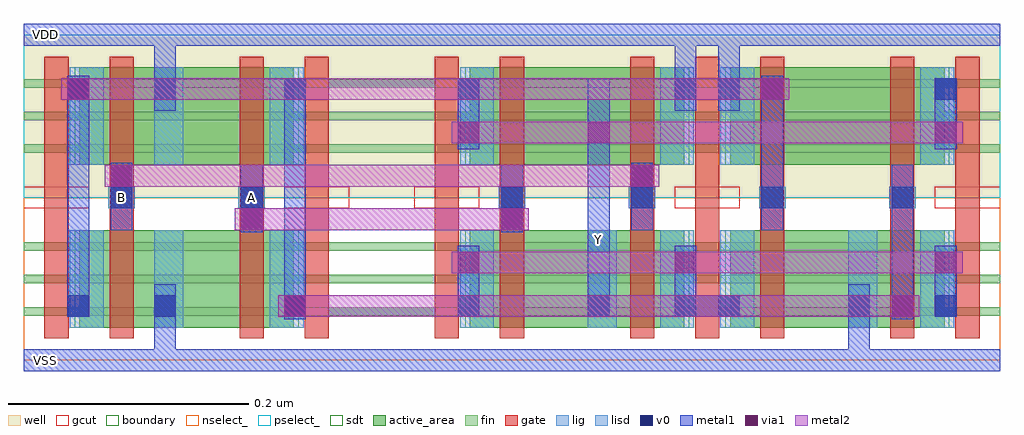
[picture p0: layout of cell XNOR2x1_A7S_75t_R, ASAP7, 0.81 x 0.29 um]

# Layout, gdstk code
import gdstk
lib = gdstk.Library(unit=1e-6, precision=2.5e-10)
def R(c, l, rs):  # rectangles x0, y0, x1, y1
    for r in rs: c.add(gdstk.rectangle(r[:2], r[2:], *l))
def A(c, l, x, y, w, h, nx, ny, dx, dy):  # array of equal rectangles
    R(c, l, [(x+i*dx, y+j*dy, x+i*dx+w, y+j*dy+h) for i in range(nx) for j in range(ny)])
well = (1, 0)
fin = (2, 0)
gate = (7, 0)
gcut = (10, 0)
active_area = (11, 0)
nselect_ = (12, 0)
pselect_ = (13, 0)
lig = (16, 0)
lisd = (17, 0)
v0 = (18, 0)
metal1 = (19, 0)
metal2 = (20, 0)
via1 = (21, 0)
sdt = (88, 0)
boundary = (100, 0)

xnor2x1_a7s_75t_r = lib.new_cell('XNOR2x1_A7S_75t_R')
R(xnor2x1_a7s_75t_r, well, [(0,0.135,0.81,0.27)])
A(xnor2x1_a7s_75t_r, fin, 0, 0.037, 0.81, 0.007, 1, 3, 0, 0.027)
A(xnor2x1_a7s_75t_r, fin, 0, 0.172, 0.81, 0.007, 1, 3, 0, 0.027)
A(xnor2x1_a7s_75t_r, gate, 0.503, 0.018, 0.02, 0.234, 3, 1, 0.054, 0)
R(xnor2x1_a7s_75t_r, gate, [(0.017,0.018,0.037,0.252), (0.071,0.018,0.091,0.252), (0.179,0.018,0.199,0.252), (0.233,0.018,0.253,0.252), (0.341,0.018,0.361,0.252), (0.395,0.018,0.415,0.252), (0.719,0.018,0.739,0.252), (0.773,0.018,0.793,0.252)])
A(xnor2x1_a7s_75t_r, gcut, 0.324, 0.126, 0.054, 0.018, 3, 1, 0.216, 0)
R(xnor2x1_a7s_75t_r, gcut, [(0,0.126,0.054,0.144), (0.216,0.126,0.27,0.144)])
R(xnor2x1_a7s_75t_r, active_area, [(0.046,0.027,0.224,0.108), (0.37,0.027,0.548,0.108), (0.586,0.027,0.764,0.108), (0.046,0.162,0.224,0.243), (0.37,0.162,0.548,0.243), (0.586,0.162,0.764,0.243)])
R(xnor2x1_a7s_75t_r, nselect_, [(0,0,0.81,0.135)])
R(xnor2x1_a7s_75t_r, pselect_, [(0,0.135,0.81,0.27)])
A(xnor2x1_a7s_75t_r, lig, 0.394, 0.126, 0.022, 0.018, 4, 1, 0.108, 0)
R(xnor2x1_a7s_75t_r, lig, [(0.07,0.126,0.092,0.144), (0.178,0.126,0.2,0.144)])
R(xnor2x1_a7s_75t_r, lisd, [(0.038,0.027,0.066,0.108), (0.108,0.027,0.132,0.108), (0.204,0.027,0.232,0.108), (0.362,0.027,0.39,0.108), (0.468,0.027,0.492,0.108), (0.528,0.027,0.556,0.108), (0.578,0.027,0.606,0.108), (0.684,0.027,0.708,0.108), (0.744,0.027,0.772,0.108), (0.038,0.162,0.066,0.243), (0.108,0.162,0.132,0.243), (0.204,0.162,0.232,0.243), (0.362,0.162,0.39,0.243), (0.528,0.162,0.556,0.243), (0.578,0.162,0.606,0.243), (0.744,0.162,0.772,0.243)])
A(xnor2x1_a7s_75t_r, v0, 0.396, 0.126, 0.018, 0.018, 4, 1, 0.108, 0)
R(xnor2x1_a7s_75t_r, v0, [(0.036,0.036,0.054,0.054), (0.108,0.036,0.126,0.054), (0.216,0.036,0.234,0.054), (0.36,0.036,0.378,0.054), (0.468,0.036,0.486,0.054), (0.54,0.036,0.558,0.054), (0.576,0.036,0.594,0.054), (0.684,0.036,0.702,0.054), (0.756,0.036,0.774,0.054), (0.072,0.126,0.09,0.144), (0.18,0.126,0.198,0.144), (0.036,0.216,0.054,0.234), (0.108,0.216,0.126,0.234), (0.216,0.216,0.234,0.234), (0.36,0.216,0.378,0.234), (0.54,0.216,0.558,0.234), (0.576,0.216,0.594,0.234), (0.756,0.216,0.774,0.234)])
A(xnor2x1_a7s_75t_r, metal1, 0.396, 0.108, 0.018, 0.054, 4, 1, 0.108, 0)
R(xnor2x1_a7s_75t_r, metal1, [(0,-0.009,0.81,0.009), (0.108,0.009,0.126,0.063), (0.684,0.009,0.702,0.063), (0.216,0.034,0.234,0.234), (0.72,0.034,0.738,0.162), (0.036,0.036,0.054,0.236), (0.36,0.036,0.378,0.095), (0.468,0.036,0.486,0.234), (0.54,0.036,0.558,0.095), (0.54,0.036,0.594,0.054), (0.756,0.036,0.774,0.095), (0.18,0.106,0.198,0.162), (0.396,0.106,0.414,0.162), (0.072,0.108,0.09,0.162), (0.072,0.108,0.09,0.164), (0.18,0.108,0.198,0.162), (0.504,0.108,0.522,0.164), (0.612,0.108,0.63,0.236), (0.36,0.175,0.378,0.234), (0.756,0.175,0.774,0.234), (0.108,0.207,0.126,0.261), (0.54,0.207,0.558,0.261), (0.576,0.207,0.594,0.261), (0,0.261,0.81,0.279)])
R(xnor2x1_a7s_75t_r, metal2, [(0.211,0.036,0.743,0.054), (0.355,0.072,0.779,0.09), (0.175,0.108,0.419,0.126), (0.067,0.144,0.527,0.162), (0.355,0.18,0.779,0.198), (0.031,0.216,0.635,0.234)])
R(xnor2x1_a7s_75t_r, via1, [(0.216,0.036,0.234,0.054), (0.72,0.036,0.738,0.054), (0.72,0.036,0.738,0.054), (0.36,0.072,0.378,0.09), (0.54,0.072,0.558,0.09), (0.756,0.072,0.774,0.09), (0.18,0.108,0.198,0.126), (0.18,0.108,0.198,0.126), (0.396,0.108,0.414,0.126), (0.396,0.108,0.414,0.126), (0.072,0.144,0.09,0.162), (0.072,0.144,0.09,0.162), (0.504,0.144,0.522,0.162), (0.504,0.144,0.522,0.162), (0.36,0.18,0.378,0.198), (0.468,0.18,0.486,0.198), (0.756,0.18,0.774,0.198), (0.036,0.216,0.054,0.234), (0.612,0.216,0.63,0.234), (0.612,0.216,0.63,0.234)])
A(xnor2x1_a7s_75t_r, sdt, 0.204, 0.162, 0.024, 0.081, 3, 1, 0.162, 0)
R(xnor2x1_a7s_75t_r, sdt, [(0.042,0.027,0.066,0.108), (0.108,0.027,0.132,0.108), (0.204,0.027,0.228,0.108), (0.366,0.027,0.39,0.108), (0.468,0.027,0.492,0.108), (0.528,0.027,0.552,0.108), (0.582,0.027,0.606,0.108), (0.684,0.027,0.708,0.108), (0.744,0.027,0.768,0.108), (0.042,0.162,0.066,0.243), (0.108,0.162,0.132,0.243), (0.582,0.162,0.606,0.243), (0.744,0.162,0.768,0.243)])
R(xnor2x1_a7s_75t_r, boundary, [(0,0,0.81,0.27)])
xnor2x1_a7s_75t_r.add(gdstk.Label('VSS', (0.018,0), layer=19, texttype=251))
xnor2x1_a7s_75t_r.add(gdstk.Label('VDD', (0.018,0.27), layer=19, texttype=251))
xnor2x1_a7s_75t_r.add(gdstk.Label('B', (0.081,0.135), layer=19, texttype=251))
xnor2x1_a7s_75t_r.add(gdstk.Label('A', (0.189,0.135), layer=19, texttype=251))
xnor2x1_a7s_75t_r.add(gdstk.Label('Y', (0.477,0.1), layer=19, texttype=251))

lib.write_gds('XNOR2x1_A7S_75t_R.gds')
